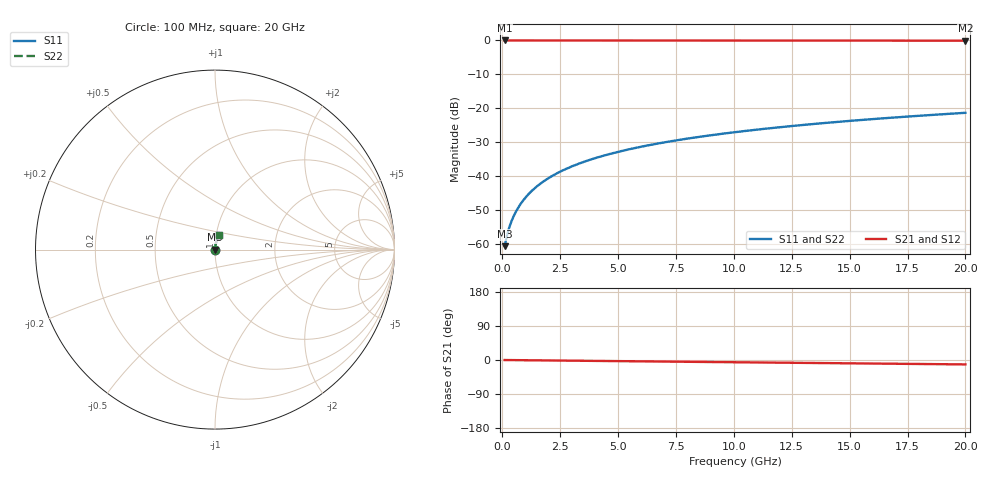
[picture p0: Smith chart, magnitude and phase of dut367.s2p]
! Touchstone file exported from HFSS 2026.1.0
!  File:  C:/ffzhzh/LocalFiles/Ansys_Project_Files/temp_train_TMRDL_367_1783004300_55676.aedt
!  Generated:  10:59:54 PM Jul  2, 2026
!  Design:  TMRDL
!  Project:  temp_train_TMRDL_367_1783004300_55676
! Variables:
!  h_bsmrdl = 2um
!  h_ox = 20um
!  h_rdl = 5um
!  h_sub = 80um
!  h_tmrdl = 4.14um
!  h_tsv = 80um
!  h_via = 3um
!  l_bsmrdl = 300um
!  l_sub = 560.1um
!  l_tmrdl = 160.1um
!  m_sub = 200um
!  pitch = 41.63um
!  r_tsv = 6um
!  s_tmrdl = 10um
!  w_bsmrdl = 18um
!  w_sub = 500um
!  w_tmrdl = 26.09um
!  x_tsv_center1 = 173.145um
!  x_tsv_center2 = 491.145um
!  x_tsv_center3 = 677.335um
!  x_tsv_center4 = 995.335um
!  x_tsv_center5 = 1181.525um
!  x_tsv_center6 = 1499.525um
# GHz S MA R 50.000000
! Terminal data exported
! Port[1] = TM_RDL1_1_T1
! Port[2] = TM_RDL1_1_T2
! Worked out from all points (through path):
!   200 points, 100 MHz to 20 GHz, reference 50 ohm
!   highest |S21| = -0.01 dB at 100 MHz (marker M1); lowest = -0.1 dB at 20 GHz (marker M2)
!   group delay of S21, straight-line fit = 1.61 ps
!   lowest |S11| = -60.8 dB at 100 MHz (marker M3), VSWR 1.00, Z = 50.1 + j0.0542 ohm
!   |S11| at or under -10 dB: start of sweep to end of sweep
!   |S22| runs from -60.8 to -21.4 dB; largest |S21 - S12| = 3e-15
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0.1  0.0009164 36.2  0.9993 -0.1  0.9993 -0.1  0.0009164 36.2
! Gamma 0 0 0 0
! Port Impedance 50 0 50 0
0.2  0.001313 52.4  0.9992 -0.1  0.9992 -0.1  0.001313 52.4
0.3  0.001732 60.4  0.9991 -0.2  0.9991 -0.2  0.001732 60.4
0.4  0.002153 65.4  0.9991 -0.2  0.9991 -0.2  0.002153 65.4
0.5  0.002578 69.0  0.9991 -0.3  0.9991 -0.3  0.002578 69.0
0.6  0.003009 71.6  0.9991 -0.4  0.9991 -0.4  0.003009 71.6
0.8  0.003885 75.2  0.999 -0.5  0.999 -0.5  0.003885 75.2
1.1  0.005221 78.3  0.999 -0.7  0.999 -0.7  0.005221 78.3
1.3  0.00612 79.6  0.999 -0.8  0.999 -0.8  0.00612 79.6
1.6  0.007473 80.9  0.9989 -1.0  0.9989 -1.0  0.007473 80.9
2.1  0.009732 82.0  0.9988 -1.3  0.9988 -1.3  0.009732 82.0
2.7  0.01243 82.6  0.9987 -1.6  0.9987 -1.6  0.01243 82.6
3.5  0.01601 82.9  0.9985 -2.1  0.9985 -2.1  0.01601 82.9
4.2  0.01911 82.8  0.9983 -2.5  0.9983 -2.5  0.01911 82.8
5  0.02262 82.6  0.998 -3.0  0.998 -3.0  0.02262 82.6
5.9  0.02653 82.3  0.9977 -3.5  0.9977 -3.5  0.02653 82.3
6.8  0.0304 82.0  0.9974 -4.0  0.9974 -4.0  0.0304 82.0
8.3  0.0368 81.4  0.9969 -4.9  0.9969 -4.9  0.0368 81.4
10.1  0.04441 80.6  0.9963 -5.9  0.9963 -5.9  0.04441 80.6
13.4  0.05822 79.0  0.9951 -7.9  0.9951 -7.9  0.05822 79.0
16.7  0.07186 77.4  0.9939 -9.8  0.9939 -9.8  0.07186 77.4
20  0.08535 75.7  0.9924 -11.6  0.9924 -11.6  0.08535 75.7
